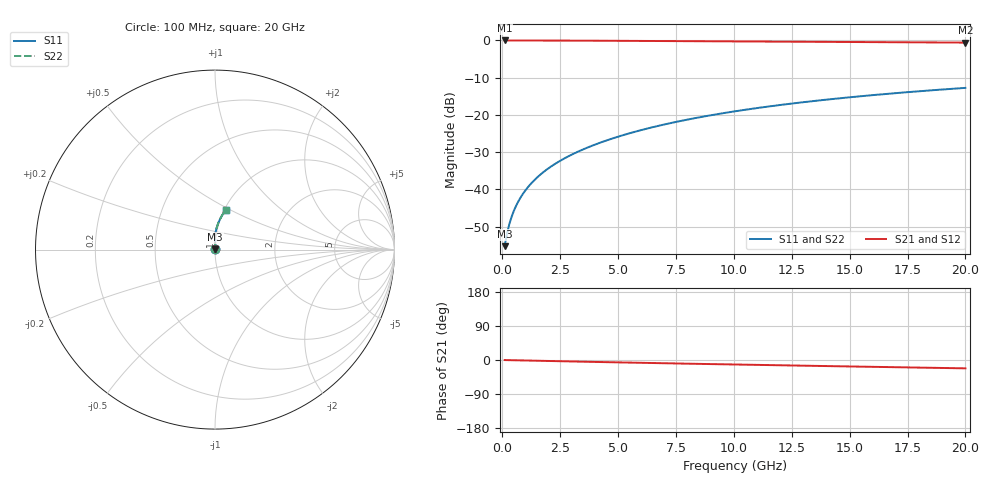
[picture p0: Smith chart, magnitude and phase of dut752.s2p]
! Touchstone file exported from HFSS 2024.1.0
!  File:  C:/UserFiles/LocalFiles/RDL_TSV_Batchsim/temp_RDL_bottom_752_1779859813.aedt
!  Generated:  01:32:54 PM May 27, 2026
!  Design:  RDL_bottom
!  Project:  temp_RDL_bottom_752_1779859813
!  Setup:  Setup1
!  Solution:  Sweep
! Variables:
!  dtsv = 10.80580581um
!  hbump = 3um
!  htsv = 93.34um
!  ldown = 266.58um
!  lrdl = 100um
!  p = 40
!  p1 = 59.6um
!  rhole = 1um
!  t = 450um
!  tdown = 3.15um
!  trdl = 3.915915916um
!  wdown = 27.37um
!  wrdl = 20um
# GHz S MA R 50.000000
! Terminal data exported
! Port[1] = RDL1_T1
! Port[2] = RDL1_T2
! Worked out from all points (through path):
!   200 points, 100 MHz to 20 GHz, reference 50 ohm
!   highest |S21| = -0.01 dB at 100 MHz (marker M1); lowest = -0.6 dB at 20 GHz (marker M2)
!   group delay of S21, straight-line fit = 3.02 ps
!   lowest |S11| = -55.3 dB at 100 MHz (marker M3), VSWR 1.00, Z = 50.1 + j0.105 ohm
!   |S11| at or under -10 dB: start of sweep to end of sweep
!   |S22| runs from -55.3 to -12.7 dB; largest |S21 - S12| = 5.4e-15
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0.1  0.001724 37.4  0.9986 -0.1  0.9986 -0.1  0.001724 37.4
! Gamma 0 0 0 0
! Port Impedance 50 0 50 0
0.2  0.002506 55.1  0.9985 -0.3  0.9985 -0.3  0.002506 55.1
0.3  0.003376 63.7  0.9984 -0.4  0.9984 -0.4  0.003376 63.7
0.4  0.00426 68.8  0.9983 -0.5  0.9983 -0.5  0.00426 68.8
0.5  0.00515 72.2  0.9982 -0.7  0.9982 -0.7  0.00515 72.2
0.6  0.006046 74.8  0.9982 -0.8  0.9982 -0.8  0.006046 74.8
0.8  0.007859 78.4  0.998 -1.1  0.998 -1.1  0.007859 78.4
1.1  0.01063 81.8  0.9976 -1.4  0.9976 -1.4  0.01063 81.8
1.5  0.0144 84.5  0.9971 -2.0  0.9971 -2.0  0.0144 84.5
1.8  0.01728 85.9  0.9966 -2.3  0.9966 -2.3  0.01728 85.9
2.1  0.0202 87.0  0.9961 -2.7  0.9961 -2.7  0.02021 87.0
2.7  0.0262 88.4  0.9948 -3.5  0.9948 -3.5  0.0262 88.4
3.5  0.03449 89.5  0.9927 -4.5  0.9927 -4.5  0.03449 89.6
4.2  0.04203 90.1  0.9906 -5.3  0.9906 -5.3  0.04203 90.1
5  0.05094 90.2  0.9879 -6.3  0.9879 -6.3  0.05094 90.2
5.9  0.06131 90.1  0.9848 -7.4  0.9848 -7.4  0.06131 90.1
6.8  0.07196 89.6  0.9816 -8.4  0.9816 -8.4  0.07196 89.6
8.4  0.09137 88.3  0.9757 -10.1  0.9757 -10.1  0.09138 88.3
10.1  0.1123 86.5  0.9696 -12.0  0.9696 -12.0  0.1123 86.5
13.4  0.1529 82.6  0.958 -15.4  0.958 -15.4  0.1529 82.6
16.7  0.1925 78.5  0.9465 -18.8  0.9465 -18.8  0.1925 78.5
20  0.2304 74.6  0.9347 -22.0  0.9347 -22.0  0.2305 74.6
